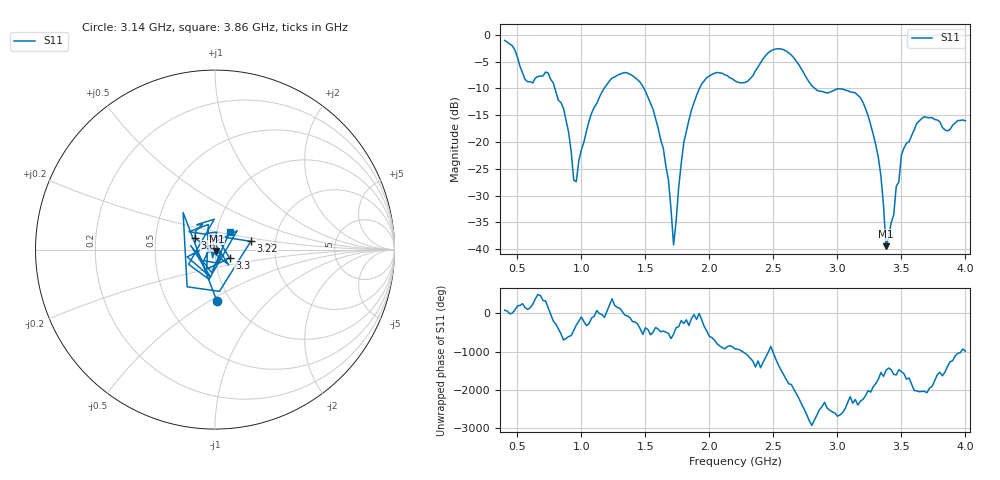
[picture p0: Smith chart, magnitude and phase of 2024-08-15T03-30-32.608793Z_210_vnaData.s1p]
!Created with skrf (http://scikit-rf.org).
# Hz S RI R 50.0
!freq ReS11 ImS11
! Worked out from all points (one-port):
!   181 points, 400 MHz to 4 GHz, reference 50 ohm
!   lowest |S11| = -39.4 dB at 3.38 GHz (marker M1), VSWR 1.02, Z = 50.7 - j0.787 ohm
!   |S11| at or under -10 dB: 792.4 MHz to 1.178 GHz (385.7 MHz wide, 39.1 % of centre); 1.488 GHz to 1.922 GHz (434.1 MHz wide, 25.5 % of centre); 2.823 GHz to end of sweep
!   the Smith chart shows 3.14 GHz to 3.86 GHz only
!   S11 on the Smith chart (normalised r, x): 3.14 GHz: 0.86, -0.54; 3.22 GHz: 1.49, +0.14; 3.3 GHz: 1.17, -0.11; 3.6 GHz: 0.79, +0.11; 3.86 GHz: 1.15, +0.23
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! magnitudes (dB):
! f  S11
! 400 MHz  -1.1
! 580 MHz  -8.8
! 740 MHz  -7.1
! 860 MHz  -13.7
! 960 MHz  -27.4
! 1.08 GHz  -14.6
! 1.3 GHz  -7.3
! 1.56 GHz  -13.9
! 1.68 GHz  -27.1
! 1.72 GHz  -39.2
! 1.76 GHz  -28.5
! 1.8 GHz  -20.1
! 1.94 GHz  -9.2
! 2.2 GHz  -8.6
! 2.5 GHz  -2.8
! 2.66 GHz  -4.3
! 2.84 GHz  -10.4
! 3.1 GHz  -10.7
! 3.14 GHz  -10.9
! 3.22 GHz  -13.8
! 3.3 GHz  -20.6
! 3.34 GHz  -26.3
! 3.38 GHz  -39.4
! 3.5 GHz  -22.4
! 3.56 GHz  -20.0
! 3.6 GHz  -17.7
! 3.86 GHz  -17.9
! 4 GHz  -16.1
